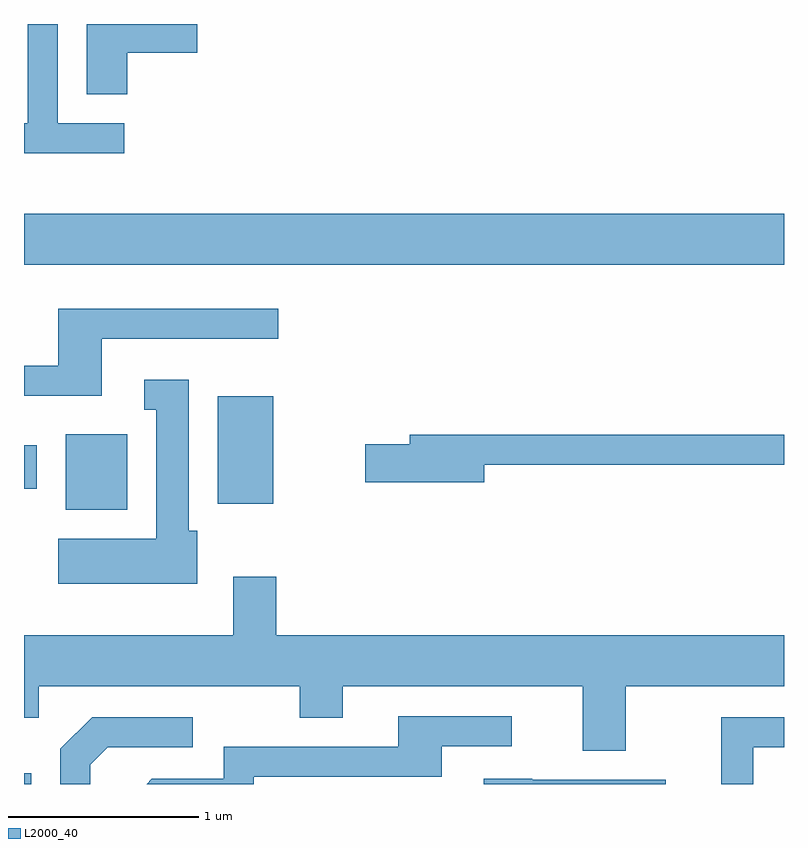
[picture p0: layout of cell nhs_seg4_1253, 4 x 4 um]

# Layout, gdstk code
import gdstk
lib = gdstk.Library(unit=1e-6, precision=1e-09)
def R(c, l, rs):  # rectangles x0, y0, x1, y1
    for r in rs: c.add(gdstk.rectangle(r[:2], r[2:], *l))
def P(c, l, *ps):  # polygons
    for p in ps: c.add(gdstk.Polygon(p, *l))
L2000_40 = (2000, 40)

nhs_seg4_1253 = lib.new_cell('nhs_seg4_1253')
R(nhs_seg4_1253, L2000_40, [(221.611,1311.982,221.649,1312.039), (221.831,1313.426,222.154,1313.824), (222.631,1313.456,222.924,1314.024), (221.611,1313.536,221.679,1313.764), (221.611,1314.716,225.611,1314.984)])
P(nhs_seg4_1253, L2000_40, [(222.138,1315.459),(221.789,1315.459),(221.789,1315.982),(221.631,1315.982),(221.631,1315.459),(221.611,1315.459),(221.611,1315.301),(222.138,1315.301)],
  [(222.154,1315.831),(222.524,1315.831),(222.524,1315.982),(221.941,1315.982),(221.941,1315.611),(222.154,1315.611)],
  [(222.019,1314.326),(222.948,1314.326),(222.948,1314.484),(221.791,1314.484),(221.791,1314.184),(221.611,1314.184),(221.611,1314.026),(222.019,1314.026)],
  [(222.524,1313.314),(222.479,1313.314),(222.479,1314.109),(222.243,1314.109),(222.243,1313.951),(222.306,1313.951),(222.306,1313.274),(221.791,1313.274),(221.791,1313.036),(222.524,1313.036)],
  [(224.034,1313.661),(225.611,1313.661),(225.611,1313.819),(223.641,1313.819),(223.641,1313.769),(223.406,1313.769),(223.406,1313.571),(224.034,1313.571)],
  [(224.779,1312.496),(225.611,1312.496),(225.611,1312.764),(222.939,1312.764),(222.939,1313.074),(222.711,1313.074),(222.711,1312.764),(221.611,1312.764),(221.611,1312.331),(221.689,1312.331),(221.689,1312.496),(223.061,1312.496),(223.061,1312.331),(223.289,1312.331),(223.289,1312.496),(224.551,1312.496),(224.551,1312.156),(224.779,1312.156)],
  [(222.819,1312.021),(223.809,1312.021),(223.809,1312.181),(224.178,1312.181),(224.178,1312.339),(223.581,1312.339),(223.581,1312.179),(222.661,1312.179),(222.661,1312.009),(222.284,1312.009),(222.257,1311.982),(222.819,1311.982)],
  [(221.959,1312.084),(222.052,1312.176),(222.498,1312.176),(222.498,1312.334),(221.969,1312.334),(221.801,1312.167),(221.801,1311.982),(221.959,1311.982)],
  [(225.449,1312.176),(225.611,1312.176),(225.611,1312.334),(225.281,1312.334),(225.281,1311.982),(225.449,1311.982)],
  [(224.989,1312.004),(224.285,1312.004),(224.285,1312.009),(224.031,1312.009),(224.031,1311.982),(224.989,1311.982)])

lib.write_gds('nhs_seg4_1253.gds')
